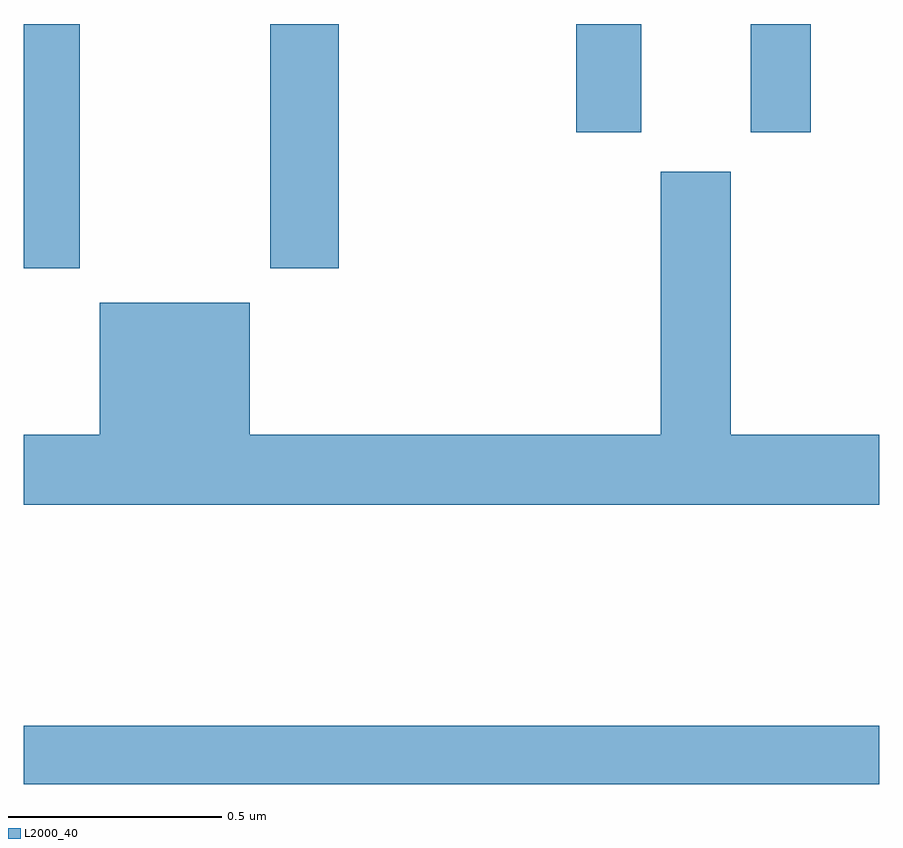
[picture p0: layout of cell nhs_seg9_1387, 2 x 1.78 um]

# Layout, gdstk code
import gdstk
lib = gdstk.Library(unit=1e-6, precision=1e-09)
def R(c, l, rs):  # rectangles x0, y0, x1, y1
    for r in rs: c.add(gdstk.rectangle(r[:2], r[2:], *l))
def P(c, l, *ps):  # polygons
    for p in ps: c.add(gdstk.Polygon(p, *l))
L2000_40 = (2000, 40)

nhs_seg9_1387 = lib.new_cell('nhs_seg9_1387')
R(nhs_seg9_1387, L2000_40, [(127,1239.724,129,1239.86), (127,1240.929,127.131,1241.5), (127.576,1240.929,127.736,1241.5), (128.291,1241.247,128.443,1241.5), (128.699,1241.247,128.839,1241.5)])
P(nhs_seg9_1387, L2000_40, [(129,1240.54),(128.653,1240.54),(128.653,1241.155),(128.489,1241.155),(128.489,1240.54),(127.528,1240.54),(127.528,1240.849),(127.178,1240.849),(127.178,1240.54),(127,1240.54),(127,1240.376),(129,1240.376)])

lib.write_gds('nhs_seg9_1387.gds')
